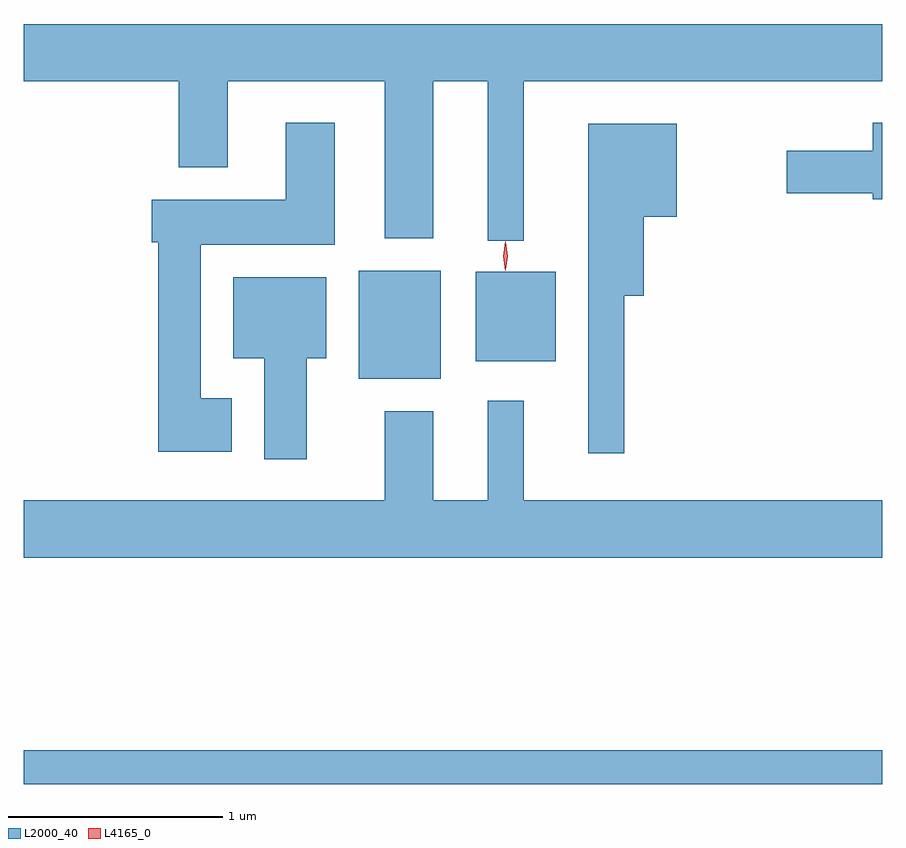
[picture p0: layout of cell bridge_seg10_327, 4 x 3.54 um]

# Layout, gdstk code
import gdstk
lib = gdstk.Library(unit=1e-6, precision=1e-09)
def R(c, l, rs):  # rectangles x0, y0, x1, y1
    for r in rs: c.add(gdstk.rectangle(r[:2], r[2:], *l))
def P(c, l, *ps):  # polygons
    for p in ps: c.add(gdstk.Polygon(p, *l))
L2000_40 = (2000, 40)
L4165_0 = (4165, 0)

bridge_seg10_327 = lib.new_cell('bridge_seg10_327')
R(bridge_seg10_327, L2000_40, [(1314.68,2186.121,1318.68,2186.279), (1316.241,2188.011,1316.624,2188.514), (1316.786,2188.091,1317.159,2188.509)])
P(bridge_seg10_327, L2000_40, [(1317.009,2189.396),(1318.68,2189.396),(1318.68,2189.664),(1314.68,2189.664),(1314.68,2189.396),(1315.401,2189.396),(1315.401,2188.996),(1315.629,2188.996),(1315.629,2189.396),(1316.361,2189.396),(1316.361,2188.666),(1316.589,2188.666),(1316.589,2189.396),(1316.841,2189.396),(1316.841,2188.653),(1317.009,2188.653)],
  [(1315.649,2187.919),(1315.504,2187.919),(1315.504,2188.636),(1316.129,2188.636),(1316.129,2189.204),(1315.901,2189.204),(1315.901,2188.844),(1315.276,2188.844),(1315.276,2188.646),(1315.306,2188.646),(1315.306,2187.671),(1315.649,2187.671)],
  [(1318.68,2189.204),(1318.636,2189.204),(1318.636,2189.074),(1318.236,2189.074),(1318.236,2188.876),(1318.636,2188.876),(1318.636,2188.846),(1318.68,2188.846)],
  [(1317.479,2188.396),(1317.569,2188.396),(1317.569,2188.766),(1317.724,2188.766),(1317.724,2189.199),(1317.311,2189.199),(1317.311,2187.663),(1317.479,2187.663)],
  [(1315.999,2188.106),(1316.089,2188.106),(1316.089,2188.484),(1315.656,2188.484),(1315.656,2188.106),(1315.801,2188.106),(1315.801,2187.636),(1315.999,2187.636)],
  [(1318.68,2187.444),(1317.009,2187.444),(1317.009,2187.908),(1316.841,2187.908),(1316.841,2187.444),(1316.589,2187.444),(1316.589,2187.859),(1316.361,2187.859),(1316.361,2187.444),(1314.68,2187.444),(1314.68,2187.176),(1318.68,2187.176)])
P(bridge_seg10_327, L4165_0, [(1316.924,2188.514),(1316.924,2188.514),(1316.914,2188.582),(1316.924,2188.65),(1316.925,2188.65),(1316.926,2188.65),(1316.934,2188.582),(1316.924,2188.514)],
  [(1316.924,2188.518),(1316.915,2188.582),(1316.924,2188.646),(1316.925,2188.647),(1316.925,2188.646),(1316.935,2188.582),(1316.925,2188.518),(1316.925,2188.518)])

lib.write_gds('bridge_seg10_327.gds')
